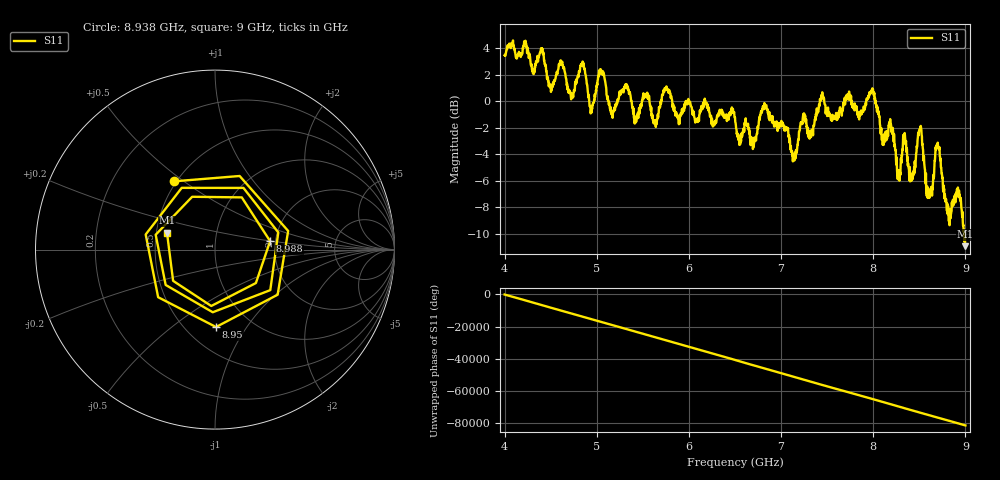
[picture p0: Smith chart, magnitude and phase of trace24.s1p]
! Created with skrf 1.8.0 (http://scikit-rf.org).
# Hz S RI R 50.0
!freq ReS11 ImS11
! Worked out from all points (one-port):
!   1601 points, 4 GHz to 9 GHz, reference 50 ohm
!   lowest |S11| = -11.0 dB at 9 GHz (marker M1), VSWR 1.79, Z = 28.5 + j5.82 ohm
!   |S11| at or under -10 dB: 8.986614 GHz to end of sweep
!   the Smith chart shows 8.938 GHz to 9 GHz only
!   S11 on the Smith chart (normalised r, x): 8.938 GHz: 0.49, +0.46; 8.95 GHz: 0.69, -0.73; 8.988 GHz: 1.87, +0.20; 9 GHz: 0.57, +0.12
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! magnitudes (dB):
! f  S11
! 4 GHz  3.5
! 4.503 GHz  0.7
! 4.625 GHz  3.0
! 4.728 GHz  0.6
! 4.847 GHz  3.0
! 4.944 GHz  -0.9
! 5.047 GHz  2.2
! 5.162 GHz  -0.7
! 5.25 GHz  0.6
! 5.875 GHz  -1.1
! 6.5 GHz  -1.2
! 6.694 GHz  -3.6
! 6.828 GHz  -0.4
! 7.125 GHz  -4.0
! 7.441 GHz  0.3
! 7.75 GHz  0.5
! 7.994 GHz  0.9
! 8.272 GHz  -5.8
! 8.375 GHz  -4.9
! 8.425 GHz  -5.9
! 8.506 GHz  -2.1
! 8.6 GHz  -6.7
! 8.697 GHz  -3.5
! 8.819 GHz  -9.0
! 8.938 GHz  -7.1
! 8.95 GHz  -7.3
! 8.988 GHz  -10.2
! 9 GHz  -11.0
